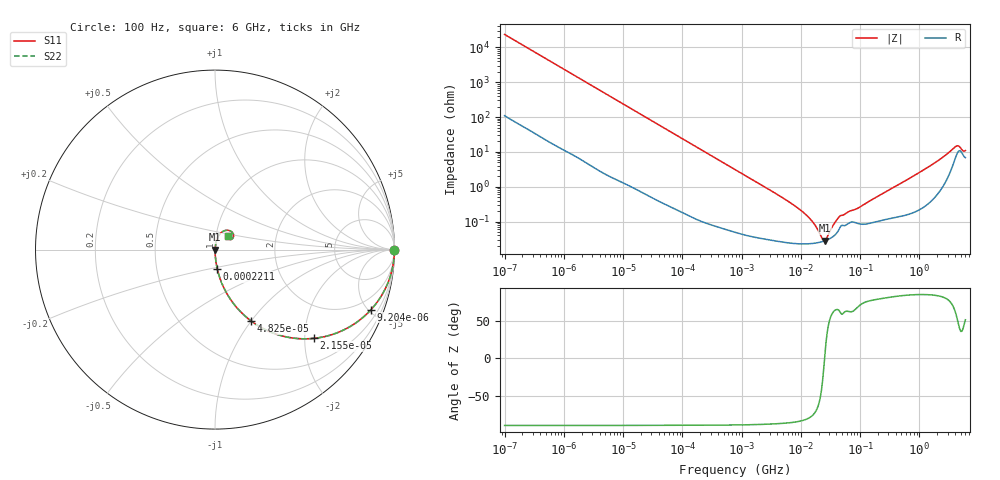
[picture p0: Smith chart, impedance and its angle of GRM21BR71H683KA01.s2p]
!Murata Part Number: GRM21BR71H683KA01
!These Parameters are Measured in Series Mode Connection
!Data Generated on Mar 30, 2021
!  o--ll--o
!Port1  Port2
!  o------o
!Operation Temp=25[degC], DC Bias Voltage=0[V]
!Freq. Start=100[Hz] Stop=6[GHz] 401[Steps]
# Hz S RI R 50
!Freq.(Hz) S11(Real) S11(Imag) S21(Real) S21(Imag) S12(Real) S12(Imag) S22(Real) S22(Imag)
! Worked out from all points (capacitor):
!   401 points, 100 Hz to 6 GHz, reference 50 ohm
!   read as one part in series: C = 67.5 nF near 109 Hz
!   lowest |Z| = 28.1 mohm at 25.46 MHz (marker M1)
!   series resonance near 25.19 MHz, so ESL is about 590 pH
!   S11 on the Smith chart (normalised r, x): 100 Hz: open; 9.204 kHz: 1.03, -5.18; 21.55 kHz: 1.01, -2.22; 48.25 kHz: 1.01, -1.00; 221.1 kHz: 1.00, -0.22; 6 GHz: 1.14, +0.17
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100  1 -0.00425  3.78e-05 0.00425  3.78e-05 0.00425  1 -0.00425
2008  0.9925 -0.0839  0.0075 0.0839  0.0075 0.0839  0.9925 -0.0839
4918  0.9582 -0.1976  0.0418 0.1976  0.0418 0.1976  0.9582 -0.1976
9204  0.8691 -0.3346  0.1309 0.3346  0.1309 0.3346  0.8691 -0.3346
21550  0.552 -0.4943  0.448 0.4943  0.448 0.4943  0.552 -0.4943
40335  0.2626 -0.4369  0.7374 0.4369  0.7374 0.4369  0.2626 -0.4369
48246  0.2 -0.3967  0.8 0.3967  0.8 0.3967  0.2 -0.3967
90302  0.0679 -0.2479  0.9321 0.2479  0.9321 0.2479  0.0679 -0.2479
221108  0.0127 -0.1077  0.9873 0.1077  0.9873 0.1077  0.0127 -0.1077
774597  0.00147 -0.0313  0.9985 0.0313  0.9985 0.0313  0.00147 -0.0313
6644369  0.000252 -0.00346  0.9997 0.00346  0.9997 0.00346  0.000252 -0.00346
1.087309e7  0.000231 -0.00186  0.9998 0.00186  0.9998 0.00186  0.000231 -0.00186
1.555665e7  0.000235 -0.000991  0.9998 0.000991  0.9998 0.000991  0.000235 -0.000991
2.327686e7  0.000267 -0.000157  0.9997 0.000157  0.9997 0.000157  0.000267 -0.000157
2.545746e7  0.00028 2.16e-05  0.9997 -2.16e-05  0.9997 -2.16e-05  0.00028 2.16e-05
3.64232e7  0.000391 0.000769  0.9996 -0.000769  0.9996 -0.000769  0.000391 0.000769
4.556224e7  0.000662 0.00127  0.9993 -0.00127  0.9993 -0.00127  0.000662 0.00127
3.124326e8  0.00127 0.00802  0.9987 -0.00802  0.9987 -0.00802  0.00127 0.00802
1.565993e9  0.0054 0.0404  0.9946 -0.0404  0.9946 -0.0404  0.0054 0.0404
4.009986e9  0.0713 0.1079  0.9287 -0.1079  0.9287 -0.1079  0.0713 0.1079
4.586474e9  0.1028 0.0858  0.8972 -0.0858  0.8972 -0.0858  0.1028 0.0858
6e9  0.0698 0.0745  0.9302 -0.0745  0.9302 -0.0745  0.0698 0.0745
